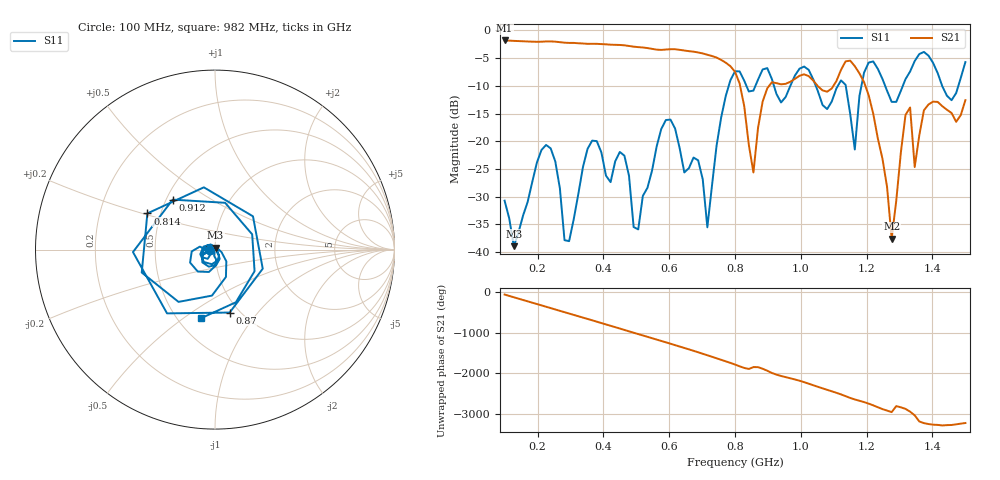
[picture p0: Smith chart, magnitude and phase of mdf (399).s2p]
! NanoVNA-App
! Date: 2025-09-25 15:41:31
! Start: 100MHz Stop: 1,5GHz Points: 101
! S-Parameter data: F S11 S21 S12 S22
# Hz S RI R 50
!  Frequency  S11_Real  S11_Imag  S21_Real  S21_Imag  S12_Real  S12_Imag  S22_Real  S22_Imag
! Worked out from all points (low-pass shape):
!   101 points, 100 MHz to 1.5 GHz, reference 50 ohm
!   highest |S21| = -1.80 dB at 100 MHz (marker M1); lowest = -37.6 dB at 1.276 GHz (marker M2)
!   |S21| within 3 dB of the highest: start of sweep to 739.5 MHz
!   lowest |S11| = -39.0 dB at 128 MHz (marker M3), VSWR 1.02, Z = 50.3 + j1.08 ohm
!   |S11| at or under -10 dB: start of sweep to 781 MHz; 918.4 MHz to 968.2 MHz (49.76 MHz wide, 5.28 % of centre); 1.045 GHz to 1.113 GHz (67.16 MHz wide, 6.22 % of centre)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
!   S12 and S22 are empty: the file has one direction only
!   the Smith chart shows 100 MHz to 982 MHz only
!   S11 on the Smith chart (normalised r, x): 100 MHz: 0.94, -0.01; 814 MHz: 0.42, +0.21; 870 MHz: 0.90, -0.73; 912 MHz: 0.54, +0.35; 982 MHz: 0.64, -0.58
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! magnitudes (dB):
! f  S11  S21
! 100 MHz  -30.7  -1.8
! 128 MHz  -39.0  -1.9
! 212 MHz  -21.6  -2.0
! 282 MHz  -37.9  -2.2
! 338 MHz  -24.7  -2.4
! 464 MHz  -22.6  -2.7
! 506 MHz  -35.9  -3.0
! 576 MHz  -17.8  -3.5
! 716 MHz  -35.6  -4.4
! 800 MHz  -7.4  -7.5
! 814 MHz  -7.4  -9.6
! 856 MHz  -10.9  -25.6
! 870 MHz  -8.9  -17.6
! 912 MHz  -8.8  -9.4
! 982 MHz  -8.1  -8.7
! 1.038 GHz  -8.9  -9.1
! 1.164 GHz  -21.5  -6.4
! 1.192 GHz  -7.6  -9.3
! 1.276 GHz  -12.9  -37.6
! 1.318 GHz  -8.8  -15.3
! 1.346 GHz  -5.5  -24.7
! 1.5 GHz  -5.7  -12.6
